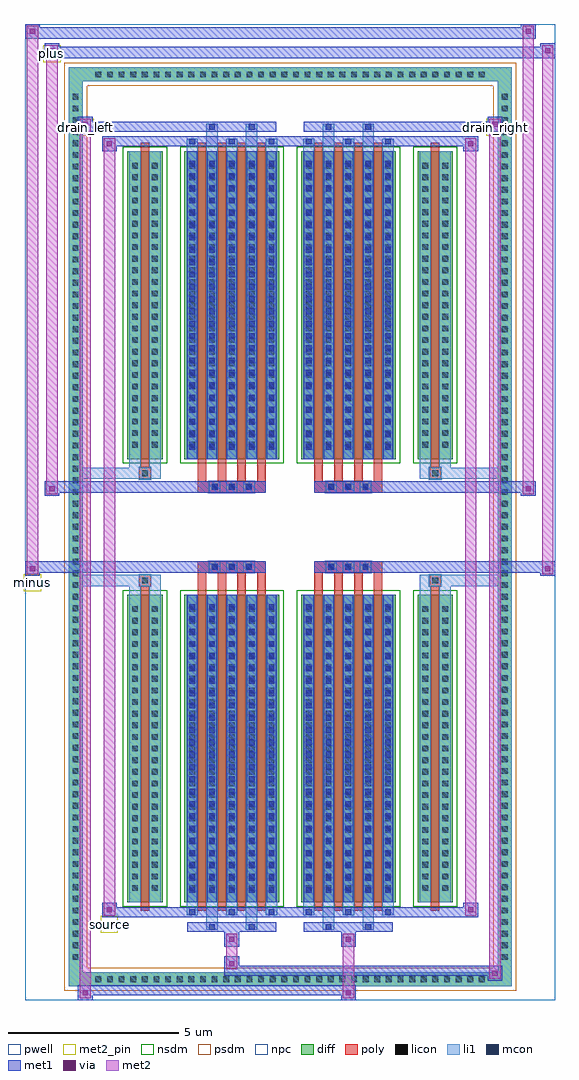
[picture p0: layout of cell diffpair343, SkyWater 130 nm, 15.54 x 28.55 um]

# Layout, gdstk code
import gdstk
lib = gdstk.Library(unit=1e-6, precision=5e-09)
def R(c, l, rs):  # rectangles x0, y0, x1, y1
    for r in rs: c.add(gdstk.rectangle(r[:2], r[2:], *l))
def A(c, l, x, y, w, h, nx, ny, dx, dy):  # array of equal rectangles
    R(c, l, [(x+i*dx, y+j*dy, x+i*dx+w, y+j*dy+h) for i in range(nx) for j in range(ny)])
def P(c, l, *ps):  # polygons
    for p in ps: c.add(gdstk.Polygon(p, *l))
pwell = (64, 44)
diff = (65, 20)
poly = (66, 20)
licon = (66, 44)
li1 = (67, 20)
mcon = (67, 44)
met1 = (68, 20)
via = (68, 44)
met2_pin = (69, 16)
met2 = (69, 20)
nsdm = (93, 44)
psdm = (94, 20)
npc = (95, 20)

diffpair343 = lib.new_cell('diffpair343')
R(diffpair343, pwell, [(-7.75,-13.84,7.75,14.71), (-5.07,-12.03,-0.01,-0.805), (0.01,-12.03,5.07,-0.805), (-5.07,0.805,-0.01,12.03), (0.01,0.805,5.07,12.03)])
A(diffpair343, diff, -5.815, -13.44, 0.41, 0.41, 34, 2, 0.34, 26.47)
A(diffpair343, diff, -6.48, -12.785, 0.41, 0.41, 1, 75, 0, 0.34)
A(diffpair343, diff, 6.07, -12.785, 0.41, 0.41, 1, 75, 0, 0.34)
R(diffpair343, diff, [(-5.815,-13.44,5.815,-13.03), (-6.48,-12.785,-6.07,12.785), (6.07,-12.785,6.48,12.785), (-4.76,-10.985,-3.73,-1.985), (-3.09,-10.985,-0.32,-1.985), (0.32,-10.985,3.09,-1.985), (3.73,-10.985,4.76,-1.985), (-4.76,1.985,-3.73,10.985), (-3.09,1.985,-0.32,10.985), (0.32,1.985,3.09,10.985), (3.73,1.985,4.76,10.985), (-5.815,13.03,5.815,13.44)])
P(diffpair343, diff, [(6.48,13.44),(-6.48,13.44),(-6.48,-13.03),(-6.07,-13.03),(-6.07,13.03),(6.07,13.03),(6.07,-13.03),(-6.07,-13.03),(-6.48,-13.03),(-6.48,-13.44),(6.48,-13.44)])
A(diffpair343, poly, -2.7, -11.235, 0.25, 9.5, 4, 2, 0.58, 12.97)
A(diffpair343, poly, 0.71, -11.235, 0.25, 9.5, 4, 2, 0.58, 12.97)
A(diffpair343, poly, -2.7, -1.735, 0.25, 0.4, 4, 2, 0.58, 3.07)
A(diffpair343, poly, 0.71, -1.735, 0.25, 0.4, 4, 2, 0.58, 3.07)
A(diffpair343, poly, -2.37, -1.335, 0.33, 0.33, 3, 2, 0.5, 2.34)
A(diffpair343, poly, 1.04, -1.335, 0.33, 0.33, 3, 2, 0.5, 2.34)
R(diffpair343, poly, [(-4.37,-11.235,-4.12,-1.735), (4.12,-11.235,4.37,-1.735), (-4.41,-1.735,-4.08,-1.405), (-4.41,-1.735,-4.08,-1.405), (4.08,-1.735,4.41,-1.405), (4.08,-1.735,4.41,-1.405), (-2.7,-1.335,-0.71,-1.005), (0.71,-1.335,2.7,-1.005), (-2.7,1.005,-0.71,1.335), (0.71,1.005,2.7,1.335), (-4.41,1.405,-4.08,1.735), (-4.41,1.405,-4.08,1.735), (4.08,1.405,4.41,1.735), (4.08,1.405,4.41,1.735), (-4.37,1.735,-4.12,11.235), (4.12,1.735,4.37,11.235)])
A(diffpair343, licon, -5.695, -13.32, 0.17, 0.17, 34, 2, 0.34, 26.47)
A(diffpair343, licon, -6.36, -12.665, 0.17, 0.17, 1, 75, 0, 0.34)
A(diffpair343, licon, 6.19, -12.665, 0.17, 0.17, 1, 75, 0, 0.34)
A(diffpair343, licon, -4.62, -10.65, 0.17, 0.17, 1, 25, 0, 0.34)
A(diffpair343, licon, -4.04, -10.65, 0.17, 0.17, 1, 25, 0, 0.34)
A(diffpair343, licon, -2.95, -10.65, 0.17, 0.17, 5, 25, 0.58, 0.34)
A(diffpair343, licon, 0.46, -10.65, 0.17, 0.17, 5, 25, 0.58, 0.34)
A(diffpair343, licon, 3.87, -10.65, 0.17, 0.17, 1, 25, 0, 0.34)
A(diffpair343, licon, 4.45, -10.65, 0.17, 0.17, 1, 25, 0, 0.34)
A(diffpair343, licon, -2.29, -1.255, 0.17, 0.17, 3, 2, 0.5, 2.34)
A(diffpair343, licon, 1.12, -1.255, 0.17, 0.17, 3, 2, 0.5, 2.34)
A(diffpair343, licon, -4.62, 2.32, 0.17, 0.17, 1, 25, 0, 0.34)
A(diffpair343, licon, -4.04, 2.32, 0.17, 0.17, 1, 25, 0, 0.34)
A(diffpair343, licon, -2.95, 2.32, 0.17, 0.17, 5, 25, 0.58, 0.34)
A(diffpair343, licon, 0.46, 2.32, 0.17, 0.17, 5, 25, 0.58, 0.34)
A(diffpair343, licon, 3.87, 2.32, 0.17, 0.17, 1, 25, 0, 0.34)
A(diffpair343, licon, 4.45, 2.32, 0.17, 0.17, 1, 25, 0, 0.34)
R(diffpair343, licon, [(-4.33,-1.655,-4.16,-1.485), (4.16,-1.655,4.33,-1.485), (-4.33,1.485,-4.16,1.655), (4.16,1.485,4.33,1.655)])
A(diffpair343, li1, -5.775, -13.4, 0.33, 0.33, 34, 2, 0.34, 26.47)
A(diffpair343, li1, -6.44, -12.745, 0.33, 0.33, 1, 75, 0, 0.34)
A(diffpair343, li1, 6.11, -12.745, 0.33, 0.33, 1, 75, 0, 0.34)
A(diffpair343, li1, -3.03, -11.36, 0.33, 0.375, 3, 2, 1.16, 22.345)
A(diffpair343, li1, -2.95, -11.36, 0.17, 0.17, 3, 2, 1.16, 22.55)
A(diffpair343, li1, 0.38, -11.36, 0.33, 0.375, 3, 2, 1.16, 22.345)
A(diffpair343, li1, 0.46, -11.36, 0.17, 0.17, 3, 2, 1.16, 22.55)
A(diffpair343, li1, -3.03, -10.985, 0.33, 9, 5, 2, 0.58, 12.97)
A(diffpair343, li1, 0.38, -10.985, 0.33, 9, 5, 2, 0.58, 12.97)
A(diffpair343, li1, -4.7, -10.73, 0.33, 0.33, 1, 25, 0, 0.34)
A(diffpair343, li1, -4.12, -10.73, 0.33, 0.33, 1, 25, 0, 0.34)
A(diffpair343, li1, -3.03, -10.73, 0.33, 0.33, 5, 25, 0.58, 0.34)
A(diffpair343, li1, 0.38, -10.73, 0.33, 0.33, 5, 25, 0.58, 0.34)
A(diffpair343, li1, 3.79, -10.73, 0.33, 0.33, 1, 25, 0, 0.34)
A(diffpair343, li1, 4.37, -10.73, 0.33, 0.33, 1, 25, 0, 0.34)
A(diffpair343, li1, -2.95, -10.71, 0.17, 0.17, 5, 24, 0.58, 0.36)
A(diffpair343, li1, -2.95, -10.71, 0.17, 8.45, 5, 2, 0.58, 12.97)
A(diffpair343, li1, 0.46, -10.71, 0.17, 0.17, 5, 24, 0.58, 0.36)
A(diffpair343, li1, 0.46, -10.71, 0.17, 8.45, 5, 2, 0.58, 12.97)
A(diffpair343, li1, -2.37, -1.335, 0.33, 0.33, 3, 2, 0.5, 2.34)
A(diffpair343, li1, 1.04, -1.335, 0.33, 0.33, 3, 2, 0.5, 2.34)
A(diffpair343, li1, -4.7, 2.24, 0.33, 0.33, 1, 25, 0, 0.34)
A(diffpair343, li1, -4.12, 2.24, 0.33, 0.33, 1, 25, 0, 0.34)
A(diffpair343, li1, -3.03, 2.24, 0.33, 0.33, 5, 25, 0.58, 0.34)
A(diffpair343, li1, 0.38, 2.24, 0.33, 0.33, 5, 25, 0.58, 0.34)
A(diffpair343, li1, 3.79, 2.24, 0.33, 0.33, 1, 25, 0, 0.34)
A(diffpair343, li1, 4.37, 2.24, 0.33, 0.33, 1, 25, 0, 0.34)
A(diffpair343, li1, -2.95, 2.26, 0.17, 0.17, 5, 24, 0.58, 0.36)
A(diffpair343, li1, 0.46, 2.26, 0.17, 0.17, 5, 24, 0.58, 0.36)
R(diffpair343, li1, [(-6.48,-13.44,-6.07,-13.03), (-6.48,-13.44,-6.07,-13.03), (-6.07,-13.44,6.07,-13.03), (6.07,-13.44,6.48,-13.03), (6.07,-13.44,6.48,-13.03), (-6.48,-13.03,-6.07,13.03), (6.07,-13.03,6.48,13.03), (-2.45,-11.79,-2.12,-10.985), (-2.37,-11.79,-2.2,-11.62), (-1.29,-11.79,-0.96,-10.985), (-1.21,-11.79,-1.04,-11.62), (0.96,-11.79,1.29,-10.985), (1.04,-11.79,1.21,-11.62), (2.12,-11.79,2.45,-10.985), (2.2,-11.79,2.37,-11.62), (-4.7,-10.985,-4.37,-1.985), (-4.12,-10.985,-3.79,-1.985), (3.79,-10.985,4.12,-1.985), (4.37,-10.985,4.7,-1.985), (-4.7,-1.985,-4.37,-1.405), (-4.12,-1.985,-3.79,-1.405), (3.79,-1.985,4.12,-1.405), (4.37,-1.985,4.7,-1.405), (-6.48,-1.735,-4.41,-1.405), (-4.7,-1.735,-4.41,-1.405), (-4.41,-1.735,-4.08,-1.405), (-4.08,-1.735,-3.79,-1.405), (3.79,-1.735,4.08,-1.405), (4.08,-1.735,4.41,-1.405), (4.08,-1.735,6.48,-1.405), (4.41,-1.735,4.7,-1.405), (-6.48,1.405,-4.41,1.735), (-4.7,1.405,-4.41,1.735), (-4.7,1.405,-4.37,1.985), (-4.41,1.405,-4.08,1.735), (-4.12,1.405,-3.79,1.985), (-4.08,1.405,-3.79,1.735), (3.79,1.405,4.08,1.735), (3.79,1.405,4.12,1.985), (4.08,1.405,4.41,1.735), (4.08,1.405,6.48,1.735), (4.37,1.405,4.7,1.985), (4.41,1.405,4.7,1.735), (-4.7,1.985,-4.37,10.985), (-4.12,1.985,-3.79,10.985), (3.79,1.985,4.12,10.985), (4.37,1.985,4.7,10.985), (-2.45,10.985,-2.12,11.79), (-1.29,10.985,-0.96,11.79), (0.96,10.985,1.29,11.79), (2.12,10.985,2.45,11.79), (-2.37,11.62,-2.2,11.79), (-1.21,11.62,-1.04,11.79), (1.04,11.62,1.21,11.79), (2.2,11.62,2.37,11.79), (-6.48,13.03,-6.07,13.44), (-6.48,13.03,-6.07,13.44), (-6.07,13.03,6.07,13.44), (6.07,13.03,6.48,13.44), (6.07,13.03,6.48,13.44)])
A(diffpair343, mcon, -2.95, -11.36, 0.17, 0.17, 3, 2, 1.16, 22.55)
A(diffpair343, mcon, 0.46, -11.36, 0.17, 0.17, 3, 2, 1.16, 22.55)
A(diffpair343, mcon, -2.95, -10.71, 0.17, 0.17, 5, 24, 0.58, 0.36)
A(diffpair343, mcon, 0.46, -10.71, 0.17, 0.17, 5, 24, 0.58, 0.36)
A(diffpair343, mcon, -2.29, -1.255, 0.17, 0.17, 3, 2, 0.5, 2.34)
A(diffpair343, mcon, 1.12, -1.255, 0.17, 0.17, 3, 2, 0.5, 2.34)
A(diffpair343, mcon, -2.95, 2.26, 0.17, 0.17, 5, 24, 0.58, 0.36)
A(diffpair343, mcon, 0.46, 2.26, 0.17, 0.17, 5, 24, 0.58, 0.36)
R(diffpair343, mcon, [(-2.37,-11.79,-2.2,-11.62), (-1.21,-11.79,-1.04,-11.62), (1.04,-11.79,1.21,-11.62), (2.2,-11.79,2.37,-11.62), (-2.37,11.62,-2.2,11.79), (-1.21,11.62,-1.04,11.79), (1.04,11.62,1.21,11.79), (2.2,11.62,2.37,11.79)])
A(diffpair343, met1, -3.01, -11.42, 0.29, 0.29, 3, 2, 1.16, 22.55)
A(diffpair343, met1, 0.4, -11.42, 0.29, 0.29, 3, 2, 1.16, 22.55)
A(diffpair343, met1, -3.01, -10.985, 0.29, 9, 5, 2, 0.58, 12.97)
A(diffpair343, met1, 0.4, -10.985, 0.29, 9, 5, 2, 0.58, 12.97)
A(diffpair343, met1, -3.01, -10.77, 0.29, 0.29, 5, 24, 0.58, 0.36)
A(diffpair343, met1, 0.4, -10.77, 0.29, 0.29, 5, 24, 0.58, 0.36)
A(diffpair343, met1, -2.35, -1.315, 0.29, 0.29, 3, 2, 0.5, 2.34)
A(diffpair343, met1, 1.06, -1.315, 0.29, 0.29, 3, 2, 0.5, 2.34)
A(diffpair343, met1, -3.01, 2.2, 0.29, 0.29, 5, 24, 0.58, 0.36)
A(diffpair343, met1, 0.4, 2.2, 0.29, 0.29, 5, 24, 0.58, 0.36)
R(diffpair343, met1, [(-6.21,-13.84,-5.78,-13.41), (1.49,-13.84,1.92,-13.41), (-6.21,-13.7,1.92,-13.41), (5.78,-13.27,6.21,-12.84), (-1.92,-13.13,6.21,-12.84), (-1.92,-12.99,-1.49,-12.56), (-1.92,-12.28,-1.49,-11.85), (1.49,-12.28,1.92,-11.85), (-3.01,-11.85,-0.4,-11.56), (-2.43,-11.85,-2.14,-11.56), (-1.27,-11.85,-0.98,-11.56), (0.4,-11.85,3.01,-11.56), (0.98,-11.85,1.27,-11.56), (2.14,-11.85,2.43,-11.56), (-5.5,-11.42,-5.07,-10.99), (-5.5,-11.42,-3.01,-11.13), (-3.01,-11.42,-0.4,-11.13), (-0.4,-11.42,0.4,-11.13), (0.4,-11.42,3.01,-11.13), (3.01,-11.42,5.5,-11.13), (5.07,-11.42,5.5,-10.99), (-7.75,-1.435,-7.32,-1.005), (7.32,-1.435,7.75,-1.005), (-7.75,-1.335,-0.71,-1.005), (-2.7,-1.335,-0.71,-1.005), (0.71,-1.335,2.7,-1.005), (0.71,-1.335,7.75,-1.005), (-7.18,0.905,-6.75,1.335), (6.75,0.905,7.18,1.335), (-7.18,1.005,-2.7,1.335), (-2.7,1.005,-0.71,1.335), (0.71,1.005,2.7,1.335), (2.7,1.005,7.18,1.335), (-5.5,10.99,-5.07,11.42), (5.07,10.99,5.5,11.42), (-5.5,11.13,-3.01,11.42), (-3.01,11.13,-0.4,11.42), (-0.4,11.13,0.4,11.42), (0.4,11.13,3.01,11.42), (3.01,11.13,5.5,11.42), (-6.21,11.56,-5.78,11.99), (-6.21,11.56,-3.01,11.85), (-3.01,11.56,-0.4,11.85), (-2.43,11.56,-2.14,11.85), (-1.27,11.56,-0.98,11.85), (0.4,11.56,3.01,11.85), (0.98,11.56,1.27,11.85), (2.14,11.56,2.43,11.85), (3.01,11.56,6.21,11.85), (5.78,11.56,6.21,11.99), (-7.18,13.71,-6.75,14.14), (-7.18,13.71,-5.07,14.04), (-5.07,13.71,5.07,14.04), (5.07,13.71,7.75,14.04), (7.32,13.71,7.75,14.14), (-7.75,14.28,-7.32,14.71), (-7.75,14.28,-5.07,14.61), (-5.07,14.28,5.07,14.61), (5.07,14.28,7.18,14.61), (6.75,14.28,7.18,14.71)])
R(diffpair343, via, [(-6.07,-13.7,-5.92,-13.55), (1.63,-13.7,1.78,-13.55), (5.92,-13.13,6.07,-12.98), (-1.78,-12.85,-1.63,-12.7), (-1.78,-12.14,-1.63,-11.99), (1.63,-12.14,1.78,-11.99), (-5.36,-11.28,-5.21,-11.13), (5.21,-11.28,5.36,-11.13), (-7.61,-1.295,-7.46,-1.145), (7.46,-1.295,7.61,-1.145), (-7.04,1.045,-6.89,1.195), (6.89,1.045,7.04,1.195), (-5.36,11.13,-5.21,11.28), (5.21,11.13,5.36,11.28), (-6.07,11.7,-5.92,11.85), (5.92,11.7,6.07,11.85), (-7.04,13.85,-6.89,14), (7.46,13.85,7.61,14), (-7.61,14.42,-7.46,14.57), (6.89,14.42,7.04,14.57)])
R(diffpair343, met2_pin, [(-5.535,-11.87,-5.035,-11.37), (-7.785,-1.885,-7.285,-1.385), (-6.245,11.44,-5.745,11.94), (5.745,11.44,6.245,11.94), (-7.215,13.59,-6.715,14.09)])
R(diffpair343, met2, [(-6.16,-13.79,-5.83,-13.46), (-6.16,-13.79,-5.83,11.94), (1.54,-13.79,1.87,-13.46), (1.54,-13.46,1.87,-12.23), (5.83,-13.22,6.16,-12.89), (5.83,-13.22,6.16,11.94), (-1.87,-12.94,-1.54,-12.61), (-1.87,-12.61,-1.54,-12.23), (-1.87,-12.23,-1.54,-11.9), (1.54,-12.23,1.87,-11.9), (-5.45,-11.37,-5.12,-11.04), (-5.45,-11.37,-5.12,11.37), (5.12,-11.37,5.45,-11.04), (5.12,-11.37,5.45,11.37), (-7.7,-1.385,-7.37,-1.055), (-7.7,-1.385,-7.37,14.66), (7.37,-1.385,7.7,-1.055), (7.37,-1.385,7.7,14.09), (-7.13,0.955,-6.8,1.285), (-7.13,0.955,-6.8,14.09), (6.8,0.955,7.13,1.285), (6.8,0.955,7.13,14.66), (-5.45,11.04,-5.12,11.37), (5.12,11.04,5.45,11.37), (-6.16,11.61,-5.83,11.94), (5.83,11.61,6.16,11.94), (-7.13,13.76,-6.8,14.09), (7.37,13.76,7.7,14.09), (-7.7,14.33,-7.37,14.66), (6.8,14.33,7.13,14.66)])
P(diffpair343, met2, [(7.7,-1.385),(7.7,-1.385),(7.7,-1.055),(7.7,-1.055)],
  [(7.7,13.76),(7.7,13.76),(7.7,14.09),(7.7,14.09)],
  [(-7.37,-1.385),(-7.37,-1.385),(-7.37,-1.055),(-7.37,-1.055)],
  [(-7.37,14.33),(-7.37,14.33),(-7.37,14.66),(-7.37,14.66)],
  [(7.13,0.955),(7.13,0.955),(7.13,1.285),(7.13,1.285)],
  [(7.13,14.33),(7.13,14.33),(7.13,14.66),(7.13,14.66)],
  [(-6.8,0.955),(-6.8,0.955),(-6.8,1.285),(-6.8,1.285)],
  [(-6.8,13.76),(-6.8,13.76),(-6.8,14.09),(-6.8,14.09)],
  [(-5.83,-13.79),(-5.83,-13.79),(-5.83,-13.46),(-5.83,-13.46)],
  [(-5.83,11.61),(-5.83,11.61),(-5.83,11.94),(-5.83,11.94)],
  [(6.16,-13.22),(6.16,-13.22),(6.16,-12.89),(6.16,-12.89)],
  [(6.16,11.61),(6.16,11.61),(6.16,11.94),(6.16,11.94)],
  [(-5.12,-11.37),(-5.12,-11.37),(-5.12,-11.04),(-5.12,-11.04)],
  [(-5.12,11.04),(-5.12,11.04),(-5.12,11.37),(-5.12,11.37)],
  [(5.45,-11.37),(5.45,-11.37),(5.45,-11.04),(5.45,-11.04)],
  [(5.45,11.04),(5.45,11.04),(5.45,11.37),(5.45,11.37)])
R(diffpair343, nsdm, [(-4.89,-11.115,-3.6,-1.855), (-3.22,-11.115,-0.19,-1.855), (0.19,-11.115,3.22,-1.855), (3.6,-11.115,4.89,-1.855), (-4.89,1.855,-3.6,11.115), (-3.22,1.855,-0.19,11.115), (0.19,1.855,3.22,11.115), (3.6,1.855,4.89,11.115)])
P(diffpair343, psdm, [(6.61,13.57),(-6.61,13.57),(-6.61,-12.9),(-5.94,-12.9),(-5.94,12.9),(5.94,12.9),(5.94,-12.9),(-5.94,-12.9),(-6.61,-12.9),(-6.61,-13.57),(6.61,-13.57)])
A(diffpair343, npc, -2.39, -1.355, 0.37, 0.37, 3, 2, 0.5, 2.34)
A(diffpair343, npc, 1.02, -1.355, 0.37, 0.37, 3, 2, 0.5, 2.34)
R(diffpair343, npc, [(-4.43,-1.755,-4.06,-1.385), (4.06,-1.755,4.43,-1.385), (-2.39,-1.355,-1.52,-0.985), (-2.39,-1.355,-1.52,-0.985), (-1.89,-1.355,-1.02,-0.985), (-1.89,-1.355,-1.02,-0.985), (1.02,-1.355,1.89,-0.985), (1.02,-1.355,1.89,-0.985), (1.52,-1.355,2.39,-0.985), (1.52,-1.355,2.39,-0.985), (-2.39,0.985,-1.52,1.355), (-2.39,0.985,-1.52,1.355), (-1.89,0.985,-1.02,1.355), (-1.89,0.985,-1.02,1.355), (1.02,0.985,1.89,1.355), (1.02,0.985,1.89,1.355), (1.52,0.985,2.39,1.355), (1.52,0.985,2.39,1.355), (-4.43,1.385,-4.06,1.755), (4.06,1.385,4.43,1.755)])
diffpair343.add(gdstk.Label('minus', (-7.535,-1.635), layer=69, texttype=5))
diffpair343.add(gdstk.Label('drain_right', (5.995,11.69), layer=69, texttype=5))
diffpair343.add(gdstk.Label('drain_left', (-5.995,11.69), layer=69, texttype=5))
diffpair343.add(gdstk.Label('source', (-5.285,-11.62), layer=69, texttype=5))
diffpair343.add(gdstk.Label('plus', (-6.965,13.84), layer=69, texttype=5))

lib.write_gds('diffpair343.gds')
